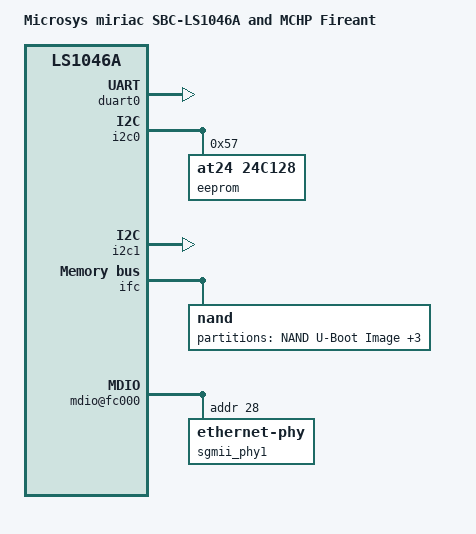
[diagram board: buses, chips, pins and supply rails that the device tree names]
// SPDX-License-Identifier: (GPL-2.0+ OR MIT)

/dts-v1/;

#include "fsl-ls1046a.dtsi"
#include "fsl-ls1046a-miriac-mpxls1046.dtsi"

/ {
	model = "Microsys miriac SBC-LS1046A and MCHP Fireant";
	compatible = "microsys,sbc1046a", "microsys,mpxls1046a", "fsl,ls1046a";

	aliases {
		ethernet0 = &enet4;
		serial0 = &duart0;
	};

	chosen {
		stdout-path = "serial0:115200n8";
	};
};

&duart0 {
	status = "okay";
};

&i2c0 {
	status = "okay";

	eeprom@57 {
		compatible = "at24,24c128";
		reg = <0x57>;
	};
};

&i2c1 {
	status = "okay";
};

&ifc {
	nand@0,0 {
		partition@0 {
			reg = <0x0 0x00100000>;
			label = "NAND U-Boot Image";
			read-only;
		};

		partition@100000 {
			reg = <0x00100000 0x00100000>;
			label = "NAND U-Boot Env";
		};

		partition@200000 {
			reg = <0x00200000 0x01E00000>;
			label = "NAND FIT Image";
		};

		partition@02000000 {
			reg = <0x02000000 0x1e000000>;
			label = "NAND (RW) UBIFS Root File System";
		};
	};
};

#include "fsl-ls1046-post.dtsi"

&fman0 {
	compatible = "fsl,fman", "simple-bus";

	ethernet@e8000 {
		phy-handle = <&sgmii_phy1>;
		phy-connection-type = "sgmii";
		/* Placeholder, overwritten by bootloader */
	        mac-address = [00 00 00 00 00 00];
		/* Fallback address */
		local-mac-address = [02 18 31 7e 3e 63];
	};

	mdio@fc000 {
		sgmii_phy1: ethernet-phy@28 {
			reg = <28>;
		};
	};
};
